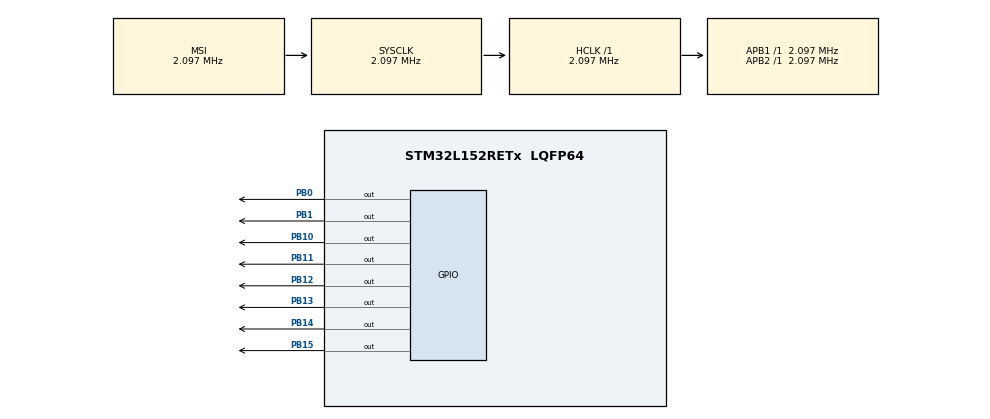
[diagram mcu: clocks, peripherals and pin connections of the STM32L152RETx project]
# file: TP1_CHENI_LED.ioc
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Mcu.Family=STM32L1
Mcu.Name=STM32L152RETx
Mcu.Package=LQFP64
NVIC.PriorityGroup=NVIC_PRIORITYGROUP_4
PB0.Signal=GPIO_Output
PB1.Signal=GPIO_Output
PB10.Signal=GPIO_Output
PB11.Signal=GPIO_Output
PB12.Signal=GPIO_Output
PB13.Signal=GPIO_Output
PB14.Signal=GPIO_Output
PB15.Signal=GPIO_Output
ProjectManager.HeapSize=0x200
ProjectManager.StackSize=0x400
ProjectManager.TargetToolchain=STM32CubeIDE
RCC.AHBFreq_Value=2097000
RCC.APB1Freq_Value=2097000
RCC.APB2Freq_Value=2097000
RCC.HSE_VALUE=24000000
RCC.HSI_VALUE=16000000
RCC.LSE_VALUE=32768
RCC.MSI_VALUE=2097000
RCC.SYSCLKFreq_VALUE=2097000
RCC.VCOOutputFreq_Value=48000000
board=custom

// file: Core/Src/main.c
/* USER CODE BEGIN Header */
/**
  ******************************************************************************
  * @file           : main.c
  * @brief          : Main program body
  ******************************************************************************
  * @attention
  *
  * Copyright (c) 2025 STMicroelectronics.
  * All rights reserved.
  *
  * This software is licensed under terms that can be found in the LICENSE file
  * in the root directory of this software component.
  * If no LICENSE file comes with this software, it is provided AS-IS.
  *
  ******************************************************************************
  */
/* USER CODE END Header */
#include "main.h"

void SystemClock_Config(void);
static void MX_GPIO_Init(void);

/* USER CODE BEGIN 0 */
void init_ports_LED(void){
	for (uint8_t i = 0 ; i <= 7 ; i++){
		GPIOB->ODR |= (1<<i);
	}
}

void allume_LED(uint8_t i){
	if (i<=1){
		GPIOB->ODR |= (1<<i);
	} else {
		GPIOB->ODR |= (1<<((i-2)+10));
	}

}

void eteint_LED(uint8_t i){
	if (i<=1){
		GPIOB->ODR &= ~(1<<i);
	} else {
		GPIOB->ODR &= ~(1<<((i-2)+10));
	}

}
/* USER CODE END 0 */

int main(void)
{

  /* MCU Configuration--------------------------------------------------------*/

  /* Reset of all peripherals, Initializes the Flash interface and the Systick. */
  HAL_Init();

  /* Configure the system clock */
  SystemClock_Config();

  /* Initialize all configured peripherals */
  MX_GPIO_Init();
  /* USER CODE BEGIN 2 */
  init_ports_LED();
  uint8_t i;
  uint16_t delay_allume = 500;
  uint16_t delay_eteint = 500;
  /* USER CODE END 2 */

  /* Infinite loop */
  while (1)
  {

    /* USER CODE BEGIN 3 */
	  for (i=0 ; i<=7 ; i++){
		  allume_LED(i);
		  HAL_Delay(delay_allume);
	  }

	  for (i=0 ; i<=7 ; i++){
		  eteint_LED(i);
		  HAL_Delay(delay_eteint);
	  }
  }
  /* USER CODE END 3 */
}

void SystemClock_Config(void)
{
  RCC_OscInitTypeDef RCC_OscInitStruct = {0};
  RCC_ClkInitTypeDef RCC_ClkInitStruct = {0};

  /** Configure the main internal regulator output voltage
  */
  __HAL_PWR_VOLTAGESCALING_CONFIG(PWR_REGULATOR_VOLTAGE_SCALE1);

  /** Initializes the RCC Oscillators according to the specified parameters
  * in the RCC_OscInitTypeDef structure.
  */
  RCC_OscInitStruct.OscillatorType = RCC_OSCILLATORTYPE_MSI;
  RCC_OscInitStruct.MSIState = RCC_MSI_ON;
  RCC_OscInitStruct.MSICalibrationValue = 0;
  RCC_OscInitStruct.MSIClockRange = RCC_MSIRANGE_5;
  RCC_OscInitStruct.PLL.PLLState = RCC_PLL_NONE;
  if (HAL_RCC_OscConfig(&RCC_OscInitStruct) != HAL_OK)
  {
    Error_Handler();
  }

  /** Initializes the CPU, AHB and APB buses clocks
  */
  RCC_ClkInitStruct.ClockType = RCC_CLOCKTYPE_HCLK|RCC_CLOCKTYPE_SYSCLK
                              |RCC_CLOCKTYPE_PCLK1|RCC_CLOCKTYPE_PCLK2;
  RCC_ClkInitStruct.SYSCLKSource = RCC_SYSCLKSOURCE_MSI;
  RCC_ClkInitStruct.AHBCLKDivider = RCC_SYSCLK_DIV1;
  RCC_ClkInitStruct.APB1CLKDivider = RCC_HCLK_DIV1;
  RCC_ClkInitStruct.APB2CLKDivider = RCC_HCLK_DIV1;

  if (HAL_RCC_ClockConfig(&RCC_ClkInitStruct, FLASH_LATENCY_0) != HAL_OK)
  {
    Error_Handler();
  }
}

static void MX_GPIO_Init(void)
{
  GPIO_InitTypeDef GPIO_InitStruct = {0};

  /* GPIO Ports Clock Enable */
  __HAL_RCC_GPIOB_CLK_ENABLE();

  /*Configure GPIO pin Output Level */
  HAL_GPIO_WritePin(GPIOB, GPIO_PIN_0|GPIO_PIN_1|GPIO_PIN_10|GPIO_PIN_11
                          |GPIO_PIN_12|GPIO_PIN_13|GPIO_PIN_14|GPIO_PIN_15, GPIO_PIN_RESET);

  /*Configure GPIO pins : PB0 PB1 PB10 PB11
                           PB12 PB13 PB14 PB15 */
  GPIO_InitStruct.Pin = GPIO_PIN_0|GPIO_PIN_1|GPIO_PIN_10|GPIO_PIN_11
                          |GPIO_PIN_12|GPIO_PIN_13|GPIO_PIN_14|GPIO_PIN_15;
  GPIO_InitStruct.Mode = GPIO_MODE_OUTPUT_PP;
  GPIO_InitStruct.Pull = GPIO_NOPULL;
  GPIO_InitStruct.Speed = GPIO_SPEED_FREQ_LOW;
  HAL_GPIO_Init(GPIOB, &GPIO_InitStruct);

}

void Error_Handler(void)
{
  __disable_irq();
  while (1)
  {
  }
}
